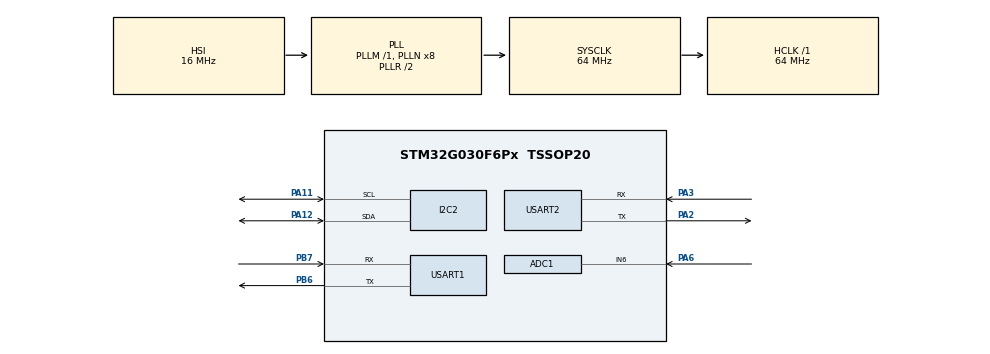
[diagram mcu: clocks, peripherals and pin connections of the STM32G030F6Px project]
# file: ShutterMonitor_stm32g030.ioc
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ADC1.Channel-0\#ChannelRegularConversion=ADC_CHANNEL_6
ADC1.Channel-1\#ChannelRegularConversion=ADC_CHANNEL_VREFINT
ADC1.ClockPrescaler=ADC_CLOCK_ASYNC_DIV8
ADC1.ContinuousConvMode=DISABLE
ADC1.DMAContinuousRequests=ENABLE
ADC1.DiscontinuousConvMode=DISABLE
ADC1.EOCSelection=ADC_EOC_SINGLE_CONV
ADC1.ExternalTrigConv=ADC_EXTERNALTRIG_T3_TRGO
ADC1.NbrOfConversion=2
ADC1.NbrOfConversionFlag=1
ADC1.Overrun=ADC_OVR_DATA_OVERWRITTEN
ADC1.OversamplingMode=DISABLE
ADC1.Rank-1\#ChannelRegularConversion=2
ADC1.SamplingTime-1\#ChannelRegularConversion=ADC_SAMPLINGTIME_COMMON_1
ADC1.SamplingTimeCommon1=ADC_SAMPLETIME_3CYCLES_5
ADC1.SamplingTimeCommon2=ADC_SAMPLETIME_3CYCLES_5
ADC1.SelectedChannel=ADC_CHANNEL_6|ADC_CHANNEL_VREFINT
ADC1.master=1
Dma.ADC1.1.Direction=DMA_PERIPH_TO_MEMORY
Dma.ADC1.1.EventEnable=DISABLE
Dma.ADC1.1.Instance=DMA1_Channel1
Dma.ADC1.1.MemDataAlignment=DMA_MDATAALIGN_HALFWORD
Dma.ADC1.1.MemInc=DMA_MINC_ENABLE
Dma.ADC1.1.Mode=DMA_CIRCULAR
Dma.ADC1.1.PeriphDataAlignment=DMA_PDATAALIGN_HALFWORD
Dma.ADC1.1.PeriphInc=DMA_PINC_DISABLE
Dma.ADC1.1.Polarity=HAL_DMAMUX_REQ_GEN_RISING
Dma.ADC1.1.Priority=DMA_PRIORITY_VERY_HIGH
Dma.ADC1.1.RequestNumber=1
Dma.ADC1.1.SignalID=NONE
Dma.ADC1.1.SyncEnable=DISABLE
Dma.ADC1.1.SyncPolarity=HAL_DMAMUX_SYNC_NO_EVENT
Dma.ADC1.1.SyncRequestNumber=1
Dma.ADC1.1.SyncSignalID=NONE
Dma.Request0=USART2_TX
Dma.Request1=ADC1
Dma.Request2=USART1_TX
Dma.USART1_TX.2.Direction=DMA_MEMORY_TO_PERIPH
Dma.USART1_TX.2.EventEnable=DISABLE
Dma.USART1_TX.2.Instance=DMA1_Channel2
Dma.USART1_TX.2.MemDataAlignment=DMA_MDATAALIGN_BYTE
Dma.USART1_TX.2.MemInc=DMA_MINC_ENABLE
Dma.USART1_TX.2.Mode=DMA_NORMAL
Dma.USART1_TX.2.PeriphDataAlignment=DMA_PDATAALIGN_BYTE
Dma.USART1_TX.2.PeriphInc=DMA_PINC_DISABLE
Dma.USART1_TX.2.Polarity=HAL_DMAMUX_REQ_GEN_RISING
Dma.USART1_TX.2.Priority=DMA_PRIORITY_LOW
Dma.USART1_TX.2.RequestNumber=1
Dma.USART1_TX.2.SignalID=NONE
Dma.USART1_TX.2.SyncEnable=DISABLE
Dma.USART1_TX.2.SyncPolarity=HAL_DMAMUX_SYNC_NO_EVENT
Dma.USART1_TX.2.SyncRequestNumber=1
Dma.USART1_TX.2.SyncSignalID=NONE
Dma.USART2_TX.0.Direction=DMA_MEMORY_TO_PERIPH
Dma.USART2_TX.0.EventEnable=DISABLE
Dma.USART2_TX.0.Instance=DMA1_Channel3
Dma.USART2_TX.0.MemDataAlignment=DMA_MDATAALIGN_BYTE
Dma.USART2_TX.0.MemInc=DMA_MINC_ENABLE
Dma.USART2_TX.0.Mode=DMA_NORMAL
Dma.USART2_TX.0.PeriphDataAlignment=DMA_PDATAALIGN_BYTE
Dma.USART2_TX.0.PeriphInc=DMA_PINC_DISABLE
Dma.USART2_TX.0.Polarity=HAL_DMAMUX_REQ_GEN_RISING
Dma.USART2_TX.0.Priority=DMA_PRIORITY_LOW
Dma.USART2_TX.0.RequestNumber=1
Dma.USART2_TX.0.SignalID=NONE
Dma.USART2_TX.0.SyncEnable=DISABLE
Dma.USART2_TX.0.SyncPolarity=HAL_DMAMUX_SYNC_NO_EVENT
Dma.USART2_TX.0.SyncRequestNumber=1
Dma.USART2_TX.0.SyncSignalID=NONE
I2C2.Timing=0x10707DBC
Mcu.Family=STM32G0
Mcu.Name=STM32G030F6Px
Mcu.Package=TSSOP20
NVIC.ADC1_IRQn=true\:0\:0\:false\:false\:true\:true\:true\:true
NVIC.DMA1_Channel1_IRQn=true\:3\:0\:true\:false\:true\:false\:true\:true
NVIC.DMA1_Channel2_3_IRQn=true\:2\:0\:true\:false\:true\:false\:true\:true
NVIC.TIM1_BRK_UP_TRG_COM_IRQn=true\:0\:0\:false\:false\:true\:true\:true\:true
NVIC.TIM1_CC_IRQn=true\:0\:0\:false\:false\:true\:true\:true\:true
NVIC.TIM3_IRQn=true\:0\:0\:false\:false\:true\:true\:true\:true
PA11\ [PA9].Mode=I2C
PA11\ [PA9].Signal=I2C2_SCL
PA12\ [PA10].Mode=I2C
PA12\ [PA10].Signal=I2C2_SDA
PA13.Mode=Serial_Wire
PA13.Signal=SYS_SWDIO
PA14-BOOT0.Mode=Serial_Wire
PA14-BOOT0.Signal=SYS_SWCLK
PA14-BOOT0__PA15.StandardMode=true
PA2.Mode=Asynchronous
PA2.Signal=USART2_TX
PA3.Mode=Asynchronous
PA3.Signal=USART2_RX
PA6.Mode=IN6
PA6.Signal=ADC1_IN6
PB0__PB1__PB2__PA8.StandardMode=true
PB3__PB4__PB5__PB6.StandardMode=true
PB6.Mode=Asynchronous
PB6.Signal=USART1_TX
PB7.Mode=Asynchronous
PB7.Signal=USART1_RX
PB7__PB8.StandardMode=true
PC14-OSC32_IN\ (PC14)__PB9.StandardMode=true
ProjectManager.HeapSize=0x800
ProjectManager.StackSize=0x1200
ProjectManager.TargetToolchain=MDK-ARM V5.32
RCC.ADCFreq_Value=64000000
RCC.AHBFreq_Value=64000000
RCC.CortexFreq_Value=64000000
RCC.EXTERNAL_CLOCK_VALUE=12288000
RCC.HCLKFreq_Value=64000000
RCC.HSE_VALUE=8000000
RCC.HSI_VALUE=16000000
RCC.LSE_VALUE=32768
RCC.SYSCLKFreq_VALUE=64000000
RCC.SYSCLKSource=RCC_SYSCLKSOURCE_PLLCLK
RCC.VCOOutputFreq_Value=128000000
TIM1.AutoReloadPreload=TIM_AUTORELOAD_PRELOAD_ENABLE
TIM1.Period=50-1
TIM1.Prescaler=64-1
TIM1.TIM_MasterOutputTrigger2=TIM_TRGO2_UPDATE
TIM3.AutoReloadPreload=TIM_AUTORELOAD_PRELOAD_DISABLE
TIM3.Period=50-1
TIM3.Prescaler=64-1
TIM3.TIM_MasterOutputTrigger=TIM_TRGO_UPDATE
USART1.VirtualMode-Asynchronous=VM_ASYNC
USART2.VirtualMode-Asynchronous=VM_ASYNC
VP_ADC1_Vref_Input.Mode=IN-Vrefint
VP_TIM1_VS_ClockSourceINT.Mode=Internal
VP_TIM3_VS_ClockSourceINT.Mode=Internal
board=custom

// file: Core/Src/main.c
/* USER CODE BEGIN Header */
/**
  ******************************************************************************
  * @file           : main.c
  * @brief          : Main program body
  ******************************************************************************
  * @attention
  *
  * Copyright (c) 2024 STMicroelectronics.
  * All rights reserved.
  *
  * This software is licensed under terms that can be found in the LICENSE file
  * in the root directory of this software component.
  * If no LICENSE file comes with this software, it is provided AS-IS.
  *
  ******************************************************************************
  */
/* USER CODE END Header */
#include "main.h"
#include "adc.h"
#include "dma.h"
#include "i2c.h"
#include "tim.h"
#include "usart.h"
#include "gpio.h"

/* USER CODE BEGIN Includes */
#include "SMU.h"
#include "stdio.h"
/* USER CODE END Includes */

/* USER CODE BEGIN PD */
//#define RAW_DBG_OUTPUT
#define OPEN_TIME_OUTPUT
/* USER CODE END PD */

void SystemClock_Config(void);

int main(void)
{
  /* USER CODE BEGIN 1 */
  volatile HAL_StatusTypeDef hst;
  extern uint16_t ADC_Data[2];
  extern _Bool NewADC;
  // extern uint16_t ADC_DARK_u16;
  #ifdef OPEN_TIME_OUTPUT
  double open_time = 0;
  uint64_t open_span = 0;
  #endif
  /* USER CODE END 1 */

  /* MCU Configuration--------------------------------------------------------*/

  /* Reset of all peripherals, Initializes the Flash interface and the Systick. */
  HAL_Init();

  /* Configure the system clock */
  SystemClock_Config();

  /* Initialize all configured peripherals */
  MX_GPIO_Init();
  MX_DMA_Init();
  MX_ADC1_Init();
  MX_USART2_UART_Init();
  MX_I2C2_Init();
  MX_USART1_UART_Init();
  MX_TIM1_Init();
  MX_TIM3_Init();
  /* USER CODE BEGIN 2 */
  printf("[OK] 系统初始化成功!\r\n");
  hst = InitSMU();
  if (hst != HAL_OK)
  {
    printf("[ERROR] SMU初始化失败!\r\n");
    while (1);    //~ 失败后阻塞在这里
  }
  printf("[OK] SMU初始化成功!\r\n");
  /* USER CODE END 2 */

  /* Infinite loop */
  /* USER CODE BEGIN WHILE */
  while (1)
  {
    if (!NewADC){
      continue;
    }
    NewADC = 0;   // 清除标志位

#ifdef RAW_DBG_OUTPUT
    for (uint8_t i = 0; i < 2; i++)
    {
      printf("PA%d:  %.4fV\r\n",i,ADC_Data[i]*3.3/4096);
    }
    HAL_Delay(10);
#endif

#ifdef OPEN_TIME_OUTPUT
  open_time = SMU_OPEN_CALC(&open_span, &open_time);
  if(!open_time){
    continue;
  }
#endif

    /* USER CODE END WHILE */

  }
}

void SystemClock_Config(void)
{
  RCC_OscInitTypeDef RCC_OscInitStruct = {0};
  RCC_ClkInitTypeDef RCC_ClkInitStruct = {0};

  /** Configure the main internal regulator output voltage
  */
  HAL_PWREx_ControlVoltageScaling(PWR_REGULATOR_VOLTAGE_SCALE1);

  /** Initializes the RCC Oscillators according to the specified parameters
  * in the RCC_OscInitTypeDef structure.
  */
  RCC_OscInitStruct.OscillatorType = RCC_OSCILLATORTYPE_HSI;
  RCC_OscInitStruct.HSIState = RCC_HSI_ON;
  RCC_OscInitStruct.HSIDiv = RCC_HSI_DIV1;
  RCC_OscInitStruct.HSICalibrationValue = RCC_HSICALIBRATION_DEFAULT;
  RCC_OscInitStruct.PLL.PLLState = RCC_PLL_ON;
  RCC_OscInitStruct.PLL.PLLSource = RCC_PLLSOURCE_HSI;
  RCC_OscInitStruct.PLL.PLLM = RCC_PLLM_DIV1;
  RCC_OscInitStruct.PLL.PLLN = 8;
  RCC_OscInitStruct.PLL.PLLP = RCC_PLLP_DIV2;
  RCC_OscInitStruct.PLL.PLLR = RCC_PLLR_DIV2;
  if (HAL_RCC_OscConfig(&RCC_OscInitStruct) != HAL_OK)
  {
    Error_Handler();
  }

  /** Initializes the CPU, AHB and APB buses clocks
  */
  RCC_ClkInitStruct.ClockType = RCC_CLOCKTYPE_HCLK|RCC_CLOCKTYPE_SYSCLK
                              |RCC_CLOCKTYPE_PCLK1;
  RCC_ClkInitStruct.SYSCLKSource = RCC_SYSCLKSOURCE_PLLCLK;
  RCC_ClkInitStruct.AHBCLKDivider = RCC_SYSCLK_DIV1;
  RCC_ClkInitStruct.APB1CLKDivider = RCC_HCLK_DIV1;

  if (HAL_RCC_ClockConfig(&RCC_ClkInitStruct, FLASH_LATENCY_2) != HAL_OK)
  {
    Error_Handler();
  }
}

/* USER CODE BEGIN 4 */
int fputc(int ch, FILE * stm)
{
  HAL_UART_Transmit(&huart1, (uint8_t *) &ch, 1, 0xffff);
  return ch;
}

/* USER CODE END 4 */

void Error_Handler(void)
{
  __disable_irq();
  while (1)
  {
  }
}
